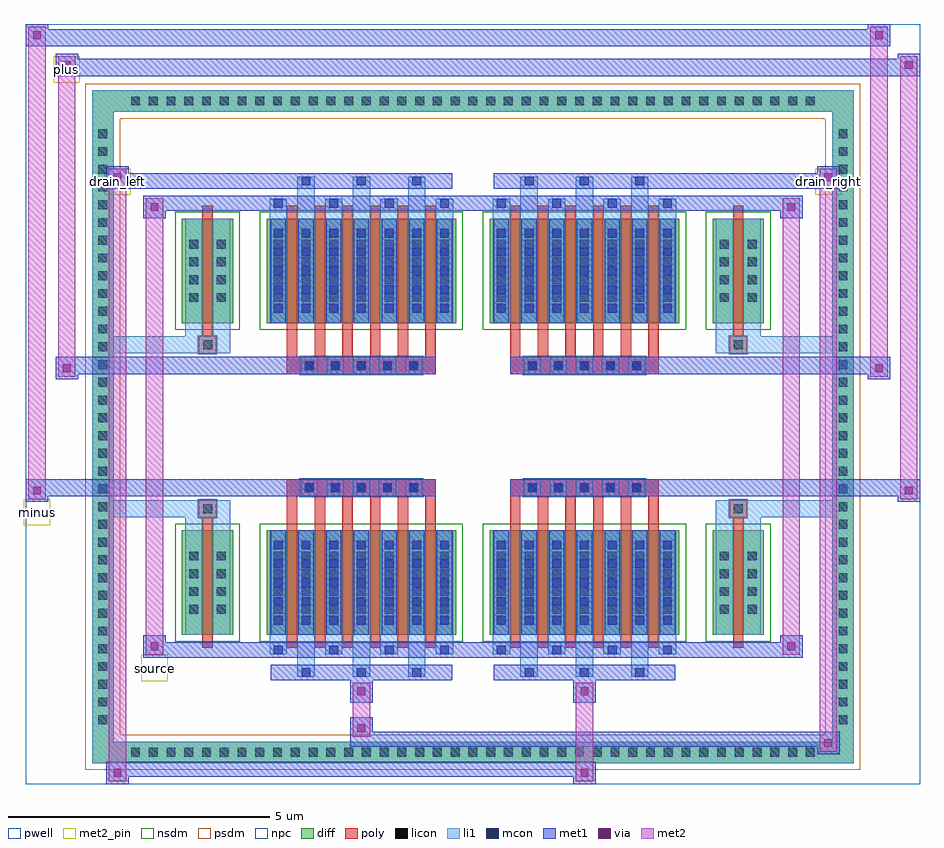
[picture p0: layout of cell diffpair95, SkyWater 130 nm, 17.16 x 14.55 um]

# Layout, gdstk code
import gdstk
lib = gdstk.Library(unit=1e-6, precision=5e-09)
def R(c, l, rs):  # rectangles x0, y0, x1, y1
    for r in rs: c.add(gdstk.rectangle(r[:2], r[2:], *l))
def A(c, l, x, y, w, h, nx, ny, dx, dy):  # array of equal rectangles
    R(c, l, [(x+i*dx, y+j*dy, x+i*dx+w, y+j*dy+h) for i in range(nx) for j in range(ny)])
def P(c, l, *ps):  # polygons
    for p in ps: c.add(gdstk.Polygon(p, *l))
pwell = (64, 44)
diff = (65, 20)
poly = (66, 20)
licon = (66, 44)
li1 = (67, 20)
mcon = (67, 44)
met1 = (68, 20)
via = (68, 44)
met2_pin = (69, 16)
met2 = (69, 20)
nsdm = (93, 44)
psdm = (94, 20)
npc = (95, 20)

diffpair95 = lib.new_cell('diffpair95')
R(diffpair95, pwell, [(-8.56,-6.84,8.56,7.71), (-5.88,-5.03,-0.01,-0.805), (0.01,-5.03,5.88,-0.805), (-5.88,0.805,-0.01,5.03), (0.01,0.805,5.88,5.03)])
A(diffpair95, diff, -6.665, -6.44, 0.41, 0.41, 39, 2, 0.34, 12.47)
A(diffpair95, diff, -7.29, -5.815, 0.41, 0.41, 1, 34, 0, 0.34)
A(diffpair95, diff, 6.88, -5.815, 0.41, 0.41, 1, 34, 0, 0.34)
R(diffpair95, diff, [(-6.665,-6.44,6.665,-6.03), (-7.29,-5.815,-6.88,5.815), (6.88,-5.815,7.29,5.815), (-5.57,-3.985,-4.59,-1.985), (-3.95,-3.985,-0.32,-1.985), (0.32,-3.985,3.95,-1.985), (4.59,-3.985,5.57,-1.985), (-5.57,1.985,-4.59,3.985), (-3.95,1.985,-0.32,3.985), (0.32,1.985,3.95,3.985), (4.59,1.985,5.57,3.985), (-6.665,6.03,6.665,6.44)])
P(diffpair95, diff, [(7.29,6.44),(-7.29,6.44),(-7.29,-6.03),(-6.88,-6.03),(-6.88,6.03),(6.88,6.03),(6.88,-6.03),(-6.88,-6.03),(-7.29,-6.03),(-7.29,-6.44),(7.29,-6.44)])
A(diffpair95, poly, -3.56, -4.235, 0.2, 2.5, 6, 2, 0.53, 5.97)
A(diffpair95, poly, 0.71, -4.235, 0.2, 2.5, 6, 2, 0.53, 5.97)
A(diffpair95, poly, -3.56, -1.735, 0.2, 0.4, 6, 2, 0.53, 3.07)
A(diffpair95, poly, 0.71, -1.735, 0.2, 0.4, 6, 2, 0.53, 3.07)
A(diffpair95, poly, -3.3, -1.335, 0.33, 0.33, 5, 2, 0.5, 2.34)
A(diffpair95, poly, 0.97, -1.335, 0.33, 0.33, 5, 2, 0.5, 2.34)
R(diffpair95, poly, [(-5.18,-4.235,-4.98,-1.735), (4.98,-4.235,5.18,-1.735), (-5.245,-1.735,-4.915,-1.405), (-5.245,-1.735,-4.915,-1.405), (4.915,-1.735,5.245,-1.405), (4.915,-1.735,5.245,-1.405), (-3.56,-1.335,-0.71,-1.005), (0.71,-1.335,3.56,-1.005), (-3.56,1.005,-0.71,1.335), (0.71,1.005,3.56,1.335), (-5.245,1.405,-4.915,1.735), (-5.245,1.405,-4.915,1.735), (4.915,1.405,5.245,1.735), (4.915,1.405,5.245,1.735), (-5.18,1.735,-4.98,4.235), (4.98,1.735,5.18,4.235)])
A(diffpair95, licon, -6.545, -6.32, 0.17, 0.17, 39, 2, 0.34, 12.47)
A(diffpair95, licon, -7.17, -5.695, 0.17, 0.17, 1, 34, 0, 0.34)
A(diffpair95, licon, 7, -5.695, 0.17, 0.17, 1, 34, 0, 0.34)
A(diffpair95, licon, -5.43, -3.58, 0.17, 0.17, 1, 4, 0, 0.34)
A(diffpair95, licon, -4.9, -3.58, 0.17, 0.17, 1, 4, 0, 0.34)
A(diffpair95, licon, -3.81, -3.58, 0.17, 0.17, 7, 4, 0.53, 0.34)
A(diffpair95, licon, 0.46, -3.58, 0.17, 0.17, 7, 4, 0.53, 0.34)
A(diffpair95, licon, 4.73, -3.58, 0.17, 0.17, 1, 4, 0, 0.34)
A(diffpair95, licon, 5.26, -3.58, 0.17, 0.17, 1, 4, 0, 0.34)
A(diffpair95, licon, -3.22, -1.255, 0.17, 0.17, 5, 2, 0.5, 2.34)
A(diffpair95, licon, 1.05, -1.255, 0.17, 0.17, 5, 2, 0.5, 2.34)
A(diffpair95, licon, -5.43, 2.39, 0.17, 0.17, 1, 4, 0, 0.34)
A(diffpair95, licon, -4.9, 2.39, 0.17, 0.17, 1, 4, 0, 0.34)
A(diffpair95, licon, -3.81, 2.39, 0.17, 0.17, 7, 4, 0.53, 0.34)
A(diffpair95, licon, 0.46, 2.39, 0.17, 0.17, 7, 4, 0.53, 0.34)
A(diffpair95, licon, 4.73, 2.39, 0.17, 0.17, 1, 4, 0, 0.34)
A(diffpair95, licon, 5.26, 2.39, 0.17, 0.17, 1, 4, 0, 0.34)
R(diffpair95, licon, [(-5.165,-1.655,-4.995,-1.485), (4.995,-1.655,5.165,-1.485), (-5.165,1.485,-4.995,1.655), (4.995,1.485,5.165,1.655)])
A(diffpair95, li1, -6.625, -6.4, 0.33, 0.33, 39, 2, 0.34, 12.47)
A(diffpair95, li1, -7.25, -5.775, 0.33, 0.33, 1, 34, 0, 0.34)
A(diffpair95, li1, 6.92, -5.775, 0.33, 0.33, 1, 34, 0, 0.34)
A(diffpair95, li1, -3.36, -4.79, 0.33, 0.805, 3, 2, 1.06, 8.775)
A(diffpair95, li1, -3.28, -4.79, 0.17, 0.17, 3, 2, 1.06, 9.41)
A(diffpair95, li1, 0.91, -4.79, 0.33, 0.805, 3, 2, 1.06, 8.775)
A(diffpair95, li1, 0.99, -4.79, 0.17, 0.17, 3, 2, 1.06, 9.41)
A(diffpair95, li1, -3.89, -4.36, 0.33, 0.375, 4, 2, 1.06, 8.345)
A(diffpair95, li1, -3.81, -4.36, 0.17, 0.17, 4, 2, 1.06, 8.55)
A(diffpair95, li1, 0.38, -4.36, 0.33, 0.375, 4, 2, 1.06, 8.345)
A(diffpair95, li1, 0.46, -4.36, 0.17, 0.17, 4, 2, 1.06, 8.55)
A(diffpair95, li1, -3.89, -3.985, 0.33, 2, 7, 2, 0.53, 5.97)
A(diffpair95, li1, 0.38, -3.985, 0.33, 2, 7, 2, 0.53, 5.97)
A(diffpair95, li1, -3.81, -3.79, 0.17, 0.17, 7, 5, 0.53, 0.36)
A(diffpair95, li1, -3.81, -3.79, 0.17, 1.61, 7, 2, 0.53, 5.97)
A(diffpair95, li1, 0.46, -3.79, 0.17, 0.17, 7, 5, 0.53, 0.36)
A(diffpair95, li1, 0.46, -3.79, 0.17, 1.61, 7, 2, 0.53, 5.97)
A(diffpair95, li1, -5.51, -3.66, 0.33, 0.33, 1, 4, 0, 0.34)
A(diffpair95, li1, -4.98, -3.66, 0.33, 0.33, 1, 4, 0, 0.34)
A(diffpair95, li1, -3.89, -3.66, 0.33, 0.33, 7, 4, 0.53, 0.34)
A(diffpair95, li1, 0.38, -3.66, 0.33, 0.33, 7, 4, 0.53, 0.34)
A(diffpair95, li1, 4.65, -3.66, 0.33, 0.33, 1, 4, 0, 0.34)
A(diffpair95, li1, 5.18, -3.66, 0.33, 0.33, 1, 4, 0, 0.34)
A(diffpair95, li1, -3.3, -1.335, 0.33, 0.33, 5, 2, 0.5, 2.34)
A(diffpair95, li1, 0.97, -1.335, 0.33, 0.33, 5, 2, 0.5, 2.34)
A(diffpair95, li1, -3.81, 2.18, 0.17, 0.17, 7, 5, 0.53, 0.36)
A(diffpair95, li1, 0.46, 2.18, 0.17, 0.17, 7, 5, 0.53, 0.36)
A(diffpair95, li1, -5.51, 2.31, 0.33, 0.33, 1, 4, 0, 0.34)
A(diffpair95, li1, -4.98, 2.31, 0.33, 0.33, 1, 4, 0, 0.34)
A(diffpair95, li1, -3.89, 2.31, 0.33, 0.33, 7, 4, 0.53, 0.34)
A(diffpair95, li1, 0.38, 2.31, 0.33, 0.33, 7, 4, 0.53, 0.34)
A(diffpair95, li1, 4.65, 2.31, 0.33, 0.33, 1, 4, 0, 0.34)
A(diffpair95, li1, 5.18, 2.31, 0.33, 0.33, 1, 4, 0, 0.34)
R(diffpair95, li1, [(-7.29,-6.44,-6.88,-6.03), (-7.29,-6.44,-6.88,-6.03), (-6.88,-6.44,6.88,-6.03), (6.88,-6.44,7.29,-6.03), (6.88,-6.44,7.29,-6.03), (-7.29,-6.03,-6.88,6.03), (6.88,-6.03,7.29,6.03), (-5.51,-3.985,-5.18,-1.985), (-4.98,-3.985,-4.65,-1.985), (4.65,-3.985,4.98,-1.985), (5.18,-3.985,5.51,-1.985), (-5.51,-1.985,-5.18,-1.405), (-4.98,-1.985,-4.65,-1.405), (4.65,-1.985,4.98,-1.405), (5.18,-1.985,5.51,-1.405), (-7.29,-1.735,-5.245,-1.405), (-5.51,-1.735,-5.245,-1.405), (-5.245,-1.735,-4.915,-1.405), (-4.915,-1.735,-4.65,-1.405), (4.65,-1.735,4.915,-1.405), (4.915,-1.735,5.245,-1.405), (4.915,-1.735,7.29,-1.405), (5.245,-1.735,5.51,-1.405), (-7.29,1.405,-5.245,1.735), (-5.51,1.405,-5.245,1.735), (-5.51,1.405,-5.18,1.985), (-5.245,1.405,-4.915,1.735), (-4.98,1.405,-4.65,1.985), (-4.915,1.405,-4.65,1.735), (4.65,1.405,4.915,1.735), (4.65,1.405,4.98,1.985), (4.915,1.405,5.245,1.735), (4.915,1.405,7.29,1.735), (5.18,1.405,5.51,1.985), (5.245,1.405,5.51,1.735), (-5.51,1.985,-5.18,3.985), (-4.98,1.985,-4.65,3.985), (4.65,1.985,4.98,3.985), (5.18,1.985,5.51,3.985), (-7.29,6.03,-6.88,6.44), (-7.29,6.03,-6.88,6.44), (-6.88,6.03,6.88,6.44), (6.88,6.03,7.29,6.44), (6.88,6.03,7.29,6.44)])
A(diffpair95, mcon, -3.28, -4.79, 0.17, 0.17, 3, 2, 1.06, 9.41)
A(diffpair95, mcon, 0.99, -4.79, 0.17, 0.17, 3, 2, 1.06, 9.41)
A(diffpair95, mcon, -3.81, -4.36, 0.17, 0.17, 4, 2, 1.06, 8.55)
A(diffpair95, mcon, 0.46, -4.36, 0.17, 0.17, 4, 2, 1.06, 8.55)
A(diffpair95, mcon, -3.81, -3.79, 0.17, 0.17, 7, 5, 0.53, 0.36)
A(diffpair95, mcon, 0.46, -3.79, 0.17, 0.17, 7, 5, 0.53, 0.36)
A(diffpair95, mcon, -3.22, -1.255, 0.17, 0.17, 5, 2, 0.5, 2.34)
A(diffpair95, mcon, 1.05, -1.255, 0.17, 0.17, 5, 2, 0.5, 2.34)
A(diffpair95, mcon, -3.81, 2.18, 0.17, 0.17, 7, 5, 0.53, 0.36)
A(diffpair95, mcon, 0.46, 2.18, 0.17, 0.17, 7, 5, 0.53, 0.36)
A(diffpair95, met1, -3.34, -4.85, 0.29, 0.29, 3, 2, 1.06, 9.41)
A(diffpair95, met1, 0.93, -4.85, 0.29, 0.29, 3, 2, 1.06, 9.41)
A(diffpair95, met1, -3.87, -4.42, 0.29, 0.29, 4, 2, 1.06, 8.55)
A(diffpair95, met1, 0.4, -4.42, 0.29, 0.29, 4, 2, 1.06, 8.55)
A(diffpair95, met1, -3.87, -3.985, 0.29, 2, 7, 2, 0.53, 5.97)
A(diffpair95, met1, 0.4, -3.985, 0.29, 2, 7, 2, 0.53, 5.97)
A(diffpair95, met1, -3.87, -3.85, 0.29, 0.29, 7, 5, 0.53, 0.36)
A(diffpair95, met1, 0.4, -3.85, 0.29, 0.29, 7, 5, 0.53, 0.36)
A(diffpair95, met1, -3.28, -1.315, 0.29, 0.29, 5, 2, 0.5, 2.34)
A(diffpair95, met1, 0.99, -1.315, 0.29, 0.29, 5, 2, 0.5, 2.34)
A(diffpair95, met1, -3.87, 2.12, 0.29, 0.29, 7, 5, 0.53, 0.36)
A(diffpair95, met1, 0.4, 2.12, 0.29, 0.29, 7, 5, 0.53, 0.36)
R(diffpair95, met1, [(-7.02,-6.84,-6.59,-6.41), (1.92,-6.84,2.35,-6.41), (-7.02,-6.7,2.35,-6.41), (6.59,-6.27,7.02,-5.84), (-2.35,-6.13,7.02,-5.84), (-2.35,-5.99,-1.92,-5.56), (-2.35,-5.28,-1.92,-4.85), (1.92,-5.28,2.35,-4.85), (-3.87,-4.85,-0.4,-4.56), (0.4,-4.85,3.87,-4.56), (-6.31,-4.42,-5.88,-3.99), (-6.31,-4.42,-3.87,-4.13), (-3.87,-4.42,-0.4,-4.13), (-0.4,-4.42,0.4,-4.13), (0.4,-4.42,3.87,-4.13), (3.87,-4.42,6.31,-4.13), (5.88,-4.42,6.31,-3.99), (-8.56,-1.435,-8.13,-1.005), (8.13,-1.435,8.56,-1.005), (-8.56,-1.335,-0.71,-1.005), (-3.56,-1.335,-0.71,-1.005), (0.71,-1.335,3.56,-1.005), (0.71,-1.335,8.56,-1.005), (-7.99,0.905,-7.56,1.335), (7.56,0.905,7.99,1.335), (-7.99,1.005,-3.56,1.335), (-3.56,1.005,-0.71,1.335), (0.71,1.005,3.56,1.335), (3.56,1.005,7.99,1.335), (-6.31,3.99,-5.88,4.42), (5.88,3.99,6.31,4.42), (-6.31,4.13,-3.87,4.42), (-3.87,4.13,-0.4,4.42), (-0.4,4.13,0.4,4.42), (0.4,4.13,3.87,4.42), (3.87,4.13,6.31,4.42), (-7.02,4.56,-6.59,4.99), (-7.02,4.56,-3.87,4.85), (-3.87,4.56,-0.4,4.85), (0.4,4.56,3.87,4.85), (3.87,4.56,7.02,4.85), (6.59,4.56,7.02,4.99), (-7.99,6.71,-7.56,7.14), (-7.99,6.71,-5.88,7.04), (-5.88,6.71,5.88,7.04), (5.88,6.71,8.56,7.04), (8.13,6.71,8.56,7.14), (-8.56,7.28,-8.13,7.71), (-8.56,7.28,-5.88,7.61), (-5.88,7.28,5.88,7.61), (5.88,7.28,7.99,7.61), (7.56,7.28,7.99,7.71)])
R(diffpair95, via, [(-6.88,-6.7,-6.73,-6.55), (2.06,-6.7,2.21,-6.55), (6.73,-6.13,6.88,-5.98), (-2.21,-5.85,-2.06,-5.7), (-2.21,-5.14,-2.06,-4.99), (2.06,-5.14,2.21,-4.99), (-6.17,-4.28,-6.02,-4.13), (6.02,-4.28,6.17,-4.13), (-8.42,-1.295,-8.27,-1.145), (8.27,-1.295,8.42,-1.145), (-7.85,1.045,-7.7,1.195), (7.7,1.045,7.85,1.195), (-6.17,4.13,-6.02,4.28), (6.02,4.13,6.17,4.28), (-6.88,4.7,-6.73,4.85), (6.73,4.7,6.88,4.85), (-7.85,6.85,-7.7,7), (8.27,6.85,8.42,7), (-8.42,7.42,-8.27,7.57), (7.7,7.42,7.85,7.57)])
R(diffpair95, met2_pin, [(-6.345,-4.87,-5.845,-4.37), (-8.595,-1.885,-8.095,-1.385), (-7.055,4.44,-6.555,4.94), (6.555,4.44,7.055,4.94), (-8.025,6.59,-7.525,7.09)])
R(diffpair95, met2, [(-6.97,-6.79,-6.64,-6.46), (-6.97,-6.79,-6.64,4.94), (1.97,-6.79,2.3,-6.46), (1.97,-6.46,2.3,-5.23), (6.64,-6.22,6.97,-5.89), (6.64,-6.22,6.97,4.94), (-2.3,-5.94,-1.97,-5.61), (-2.3,-5.61,-1.97,-5.23), (-2.3,-5.23,-1.97,-4.9), (1.97,-5.23,2.3,-4.9), (-6.26,-4.37,-5.93,-4.04), (-6.26,-4.37,-5.93,4.37), (5.93,-4.37,6.26,-4.04), (5.93,-4.37,6.26,4.37), (-8.51,-1.385,-8.18,-1.055), (-8.51,-1.385,-8.18,7.66), (8.18,-1.385,8.51,-1.055), (8.18,-1.385,8.51,7.09), (-7.94,0.955,-7.61,1.285), (-7.94,0.955,-7.61,7.09), (7.61,0.955,7.94,1.285), (7.61,0.955,7.94,7.66), (-6.26,4.04,-5.93,4.37), (5.93,4.04,6.26,4.37), (-6.97,4.61,-6.64,4.94), (6.64,4.61,6.97,4.94), (-7.94,6.76,-7.61,7.09), (8.18,6.76,8.51,7.09), (-8.51,7.33,-8.18,7.66), (7.61,7.33,7.94,7.66)])
P(diffpair95, met2, [(8.51,-1.385),(8.51,-1.385),(8.51,-1.055),(8.51,-1.055)],
  [(8.51,6.76),(8.51,6.76),(8.51,7.09),(8.51,7.09)],
  [(-8.18,-1.385),(-8.18,-1.385),(-8.18,-1.055),(-8.18,-1.055)],
  [(-8.18,7.33),(-8.18,7.33),(-8.18,7.66),(-8.18,7.66)],
  [(7.94,0.955),(7.94,0.955),(7.94,1.285),(7.94,1.285)],
  [(7.94,7.33),(7.94,7.33),(7.94,7.66),(7.94,7.66)],
  [(-7.61,0.955),(-7.61,0.955),(-7.61,1.285),(-7.61,1.285)],
  [(-7.61,6.76),(-7.61,6.76),(-7.61,7.09),(-7.61,7.09)],
  [(-6.64,-6.79),(-6.64,-6.79),(-6.64,-6.46),(-6.64,-6.46)],
  [(-6.64,4.61),(-6.64,4.61),(-6.64,4.94),(-6.64,4.94)],
  [(6.97,-6.22),(6.97,-6.22),(6.97,-5.89),(6.97,-5.89)],
  [(6.97,4.61),(6.97,4.61),(6.97,4.94),(6.97,4.94)],
  [(-5.93,-4.37),(-5.93,-4.37),(-5.93,-4.04),(-5.93,-4.04)],
  [(-5.93,4.04),(-5.93,4.04),(-5.93,4.37),(-5.93,4.37)],
  [(6.26,-4.37),(6.26,-4.37),(6.26,-4.04),(6.26,-4.04)],
  [(6.26,4.04),(6.26,4.04),(6.26,4.37),(6.26,4.37)])
R(diffpair95, nsdm, [(-5.7,-4.115,-4.46,-1.855), (-4.08,-4.115,-0.19,-1.855), (0.19,-4.115,4.08,-1.855), (4.46,-4.115,5.7,-1.855), (-5.7,1.855,-4.46,4.115), (-4.08,1.855,-0.19,4.115), (0.19,1.855,4.08,4.115), (4.46,1.855,5.7,4.115)])
P(diffpair95, psdm, [(7.42,6.57),(-7.42,6.57),(-7.42,-5.9),(-6.75,-5.9),(-6.75,5.9),(6.75,5.9),(6.75,-5.9),(-6.75,-5.9),(-7.42,-5.9),(-7.42,-6.57),(7.42,-6.57)])
A(diffpair95, npc, -3.32, -1.355, 0.37, 0.37, 5, 2, 0.5, 2.34)
A(diffpair95, npc, 0.95, -1.355, 0.37, 0.37, 5, 2, 0.5, 2.34)
R(diffpair95, npc, [(-5.265,-1.755,-4.895,-1.385), (4.895,-1.755,5.265,-1.385), (-3.32,-1.355,-2.45,-0.985), (-3.32,-1.355,-2.45,-0.985), (-2.82,-1.355,-1.95,-0.985), (-2.82,-1.355,-1.95,-0.985), (-2.32,-1.355,-1.45,-0.985), (-2.32,-1.355,-1.45,-0.985), (-1.82,-1.355,-0.95,-0.985), (-1.82,-1.355,-0.95,-0.985), (0.95,-1.355,1.82,-0.985), (0.95,-1.355,1.82,-0.985), (1.45,-1.355,2.32,-0.985), (1.45,-1.355,2.32,-0.985), (1.95,-1.355,2.82,-0.985), (1.95,-1.355,2.82,-0.985), (2.45,-1.355,3.32,-0.985), (2.45,-1.355,3.32,-0.985), (-3.32,0.985,-2.45,1.355), (-3.32,0.985,-2.45,1.355), (-2.82,0.985,-1.95,1.355), (-2.82,0.985,-1.95,1.355), (-2.32,0.985,-1.45,1.355), (-2.32,0.985,-1.45,1.355), (-1.82,0.985,-0.95,1.355), (-1.82,0.985,-0.95,1.355), (0.95,0.985,1.82,1.355), (0.95,0.985,1.82,1.355), (1.45,0.985,2.32,1.355), (1.45,0.985,2.32,1.355), (1.95,0.985,2.82,1.355), (1.95,0.985,2.82,1.355), (2.45,0.985,3.32,1.355), (2.45,0.985,3.32,1.355), (-5.265,1.385,-4.895,1.755), (4.895,1.385,5.265,1.755)])
diffpair95.add(gdstk.Label('minus', (-8.345,-1.635), layer=69, texttype=5))
diffpair95.add(gdstk.Label('drain_right', (6.805,4.69), layer=69, texttype=5))
diffpair95.add(gdstk.Label('drain_left', (-6.805,4.69), layer=69, texttype=5))
diffpair95.add(gdstk.Label('source', (-6.095,-4.62), layer=69, texttype=5))
diffpair95.add(gdstk.Label('plus', (-7.775,6.84), layer=69, texttype=5))

lib.write_gds('diffpair95.gds')
